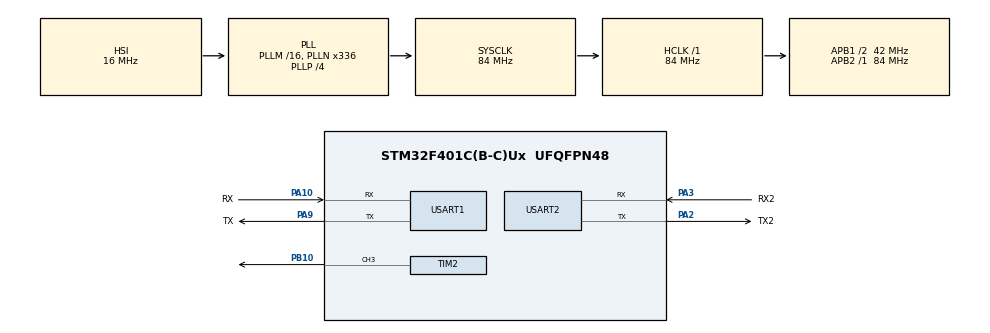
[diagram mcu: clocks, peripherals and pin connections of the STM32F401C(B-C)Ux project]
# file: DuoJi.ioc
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Mcu.Family=STM32F4
Mcu.Name=STM32F401C(B-C)Ux
Mcu.Package=UFQFPN48
NVIC.PriorityGroup=NVIC_PRIORITYGROUP_4
NVIC.TIM2_IRQn=true\:0\:0\:false\:false\:true\:true\:true
NVIC.USART1_IRQn=true\:0\:0\:false\:false\:true\:true\:true
NVIC.USART2_IRQn=true\:0\:0\:false\:false\:true\:true\:true
PA10.GPIO_Label=RX
PA10.Mode=Asynchronous
PA10.Signal=USART1_RX
PA2.GPIO_Label=TX2
PA2.Mode=Asynchronous
PA2.Signal=USART2_TX
PA3.GPIO_Label=RX2
PA3.Mode=Asynchronous
PA3.Signal=USART2_RX
PA9.GPIO_Label=TX
PA9.Mode=Asynchronous
PA9.Signal=USART1_TX
PB10.Signal=S_TIM2_CH3
PC14-OSC32_IN.Mode=LSE-External-Oscillator
PC14-OSC32_IN.Signal=RCC_OSC32_IN
PC15-OSC32_OUT.Mode=LSE-External-Oscillator
PC15-OSC32_OUT.Signal=RCC_OSC32_OUT
PH0\ -\ OSC_IN.Mode=HSE-External-Oscillator
PH0\ -\ OSC_IN.Signal=RCC_OSC_IN
PH1\ -\ OSC_OUT.Mode=HSE-External-Oscillator
PH1\ -\ OSC_OUT.Signal=RCC_OSC_OUT
ProjectManager.HeapSize=0x3000
ProjectManager.StackSize=0x400
ProjectManager.TargetToolchain=SW4STM32
RCC.48MHZClocksFreq_Value=84000000
RCC.AHBFreq_Value=84000000
RCC.APB1CLKDivider=RCC_HCLK_DIV2
RCC.APB1Freq_Value=42000000
RCC.APB1TimFreq_Value=84000000
RCC.APB2Freq_Value=84000000
RCC.APB2TimFreq_Value=84000000
RCC.CortexFreq_Value=84000000
RCC.HCLKFreq_Value=84000000
RCC.HSE_VALUE=25000000
RCC.HSI_VALUE=16000000
RCC.PLLN=336
RCC.PLLP=RCC_PLLP_DIV4
RCC.SYSCLKFreq_VALUE=84000000
RCC.SYSCLKSource=RCC_SYSCLKSOURCE_PLLCLK
RCC.VCOOutputFreq_Value=336000000
SH.S_TIM2_CH3.0=TIM2_CH3,PWM Generation3 CH3
TIM2.Channel-PWM\ Generation3\ CH3=TIM_CHANNEL_3
TIM2.Period=1000
TIM2.Prescaler=84*20
USART1.VirtualMode=VM_ASYNC
USART2.VirtualMode=VM_ASYNC
VP_TIM2_VS_ClockSourceINT.Mode=Internal
board=custom

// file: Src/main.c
/* USER CODE BEGIN Header */
/**
  ******************************************************************************
  * @file           : main.c
  * @brief          : Main program body
  ******************************************************************************
  * @attention
  *
  * <h2><center>&copy; Copyright (c) 2020 STMicroelectronics.
  * All rights reserved.</center></h2>
  *
  * This software component is licensed by ST under BSD 3-Clause license,
  * the "License"; You may not use this file except in compliance with the
  * License. You may obtain a copy of the License at:
  *                        opensource.org/licenses/BSD-3-Clause
  *
  ******************************************************************************
  */
/* USER CODE END Header */

#include "main.h"
#include "tim.h"
#include "usart.h"
#include "gpio.h"

/* USER CODE BEGIN Includes */
#include "stdbool.h"
#include "string.h"
#include "malloc.h"
/* USER CODE END Includes */

/* USER CODE BEGIN PV */
#pragma clang diagnostic push
#pragma clang diagnostic ignored "-Wmissing-noreturn"

/* USER CODE END PV */

void SystemClock_Config(void);

/* USER CODE BEGIN PFP */
char *send(UART_HandleTypeDef *huart, char *msg);

char *response(UART_HandleTypeDef *huart);

char *sendResponse(char *msg, char *isOk);

bool connectService();

int stringToInt(const char *str);
/* USER CODE END PFP */

/* USER CODE BEGIN 0 */

volatile uint8_t isConnect = false;
volatile int root = 75;

/* USER CODE END 0 */

int main(void) {

    /* MCU Configuration--------------------------------------------------------*/

    /* Reset of all peripherals, Initializes the Flash interface and the Systick. */
    HAL_Init();

    /* Configure the system clock */
    SystemClock_Config();

    /* Initialize all configured peripherals */
    MX_GPIO_Init();
    MX_TIM2_Init();
    MX_USART1_UART_Init();
    MX_USART2_UART_Init();

    /* Infinite loop */
    while (1) {

        /* USER CODE BEGIN 3 */

        // 200/20=10 200-x=y y*10=ms
        // 1000/20 = 50/ms
        // 0.5ms  = 25  ----------------正向最大转速
        // 1.5ms  = 75  ----------------速度为0
        // 2.5ms  = 125 ----------------反向最大转速

        // 连接服务器
        if (connectService()) {

            // 接收响应内容
            char *stringRe = response(&huart1);
            if (strcmp(stringRe, "") != 0 && strcmp(stringRe, "\r") != 0) {
                send(&huart2, stringRe);
                send(&huart2, "\r\n");
                root = stringToInt(stringRe);
                if(root>125) {
                    root = 125;
                } else if(root < 25) {
                    root = 25;
                }
            }
            free(stringRe);

            HAL_TIM_PWM_Start(&htim2, TIM_CHANNEL_3);

            //__HAL_TIM_SetCompare(&htim2, TIM_CHANNEL_3, 125);
            //HAL_Delay(200);

            __HAL_TIM_SetCompare(&htim2, TIM_CHANNEL_3, root);
            HAL_Delay(30);

            //__HAL_TIM_SetCompare(&htim2, TIM_CHANNEL_3, 25);
            //HAL_Delay(200);

            // 请求发送内容
//            send(&huart2,"AT+CIPSEND=5\r\n");
//            char *string6 = sendResponse("AT+CIPSEND=5\r\n", "OK");
//            send(&huart2, string6);
//            send(&huart2, "\r\n");

            // 发送内容
//            send(&huart2, "Hello\r\n");
//            char *string7 = sendResponse("Hello\r\n", "OK");
//            send(&huart2, string7);
//            send(&huart2, "\r\n");
        }

    }
    /* USER CODE END 3 */
}

void SystemClock_Config(void) {
    RCC_OscInitTypeDef RCC_OscInitStruct = {0};
    RCC_ClkInitTypeDef RCC_ClkInitStruct = {0};

    /** Configure the main internal regulator output voltage
    */
    __HAL_RCC_PWR_CLK_ENABLE();
    __HAL_PWR_VOLTAGESCALING_CONFIG(PWR_REGULATOR_VOLTAGE_SCALE2);
    /** Initializes the CPU, AHB and APB busses clocks
    */
    RCC_OscInitStruct.OscillatorType = RCC_OSCILLATORTYPE_HSI;
    RCC_OscInitStruct.HSIState = RCC_HSI_ON;
    RCC_OscInitStruct.HSICalibrationValue = RCC_HSICALIBRATION_DEFAULT;
    RCC_OscInitStruct.PLL.PLLState = RCC_PLL_ON;
    RCC_OscInitStruct.PLL.PLLSource = RCC_PLLSOURCE_HSI;
    RCC_OscInitStruct.PLL.PLLM = 16;
    RCC_OscInitStruct.PLL.PLLN = 336;
    RCC_OscInitStruct.PLL.PLLP = RCC_PLLP_DIV4;
    RCC_OscInitStruct.PLL.PLLQ = 4;
    if (HAL_RCC_OscConfig(&RCC_OscInitStruct) != HAL_OK) {
        Error_Handler();
    }
    /** Initializes the CPU, AHB and APB busses clocks
    */
    RCC_ClkInitStruct.ClockType = RCC_CLOCKTYPE_HCLK | RCC_CLOCKTYPE_SYSCLK
                                  | RCC_CLOCKTYPE_PCLK1 | RCC_CLOCKTYPE_PCLK2;
    RCC_ClkInitStruct.SYSCLKSource = RCC_SYSCLKSOURCE_PLLCLK;
    RCC_ClkInitStruct.AHBCLKDivider = RCC_SYSCLK_DIV1;
    RCC_ClkInitStruct.APB1CLKDivider = RCC_HCLK_DIV2;
    RCC_ClkInitStruct.APB2CLKDivider = RCC_HCLK_DIV1;

    if (HAL_RCC_ClockConfig(&RCC_ClkInitStruct, FLASH_LATENCY_2) != HAL_OK) {
        Error_Handler();
    }
}

/* USER CODE BEGIN 4 */
/**
 * 发送数据
 * @param huart
 * @param msg
 * @return
 */
char *send(UART_HandleTypeDef *huart, char *msg) {
    if (strcmp(msg, "") == 0) {
        return "";
    }
    HAL_UART_Transmit(huart, (uint8_t *) msg, strlen(msg), 30);
    /*Receive command and save in "rxBuffer" array with 5s timeout*/
}

/**
 * 接收数据
 * @param huart
 * @return
 */
char *response(UART_HandleTypeDef *huart) {
    char *rxBuffer = malloc(100);
    memset(rxBuffer, 0, 100);
    HAL_UART_Receive(huart, (uint8_t *) rxBuffer, 100, 300);

    char *str = strchr(rxBuffer, ':');

    if (str != NULL) {
        char *rxBufferTemp = malloc(100);
        memset(rxBufferTemp, 0, 100);
        strncpy(rxBufferTemp, str + 1, strlen(str) - 1);

        free(rxBuffer);
        return rxBufferTemp;
    }

    return rxBuffer;
}

char *sendResponse(char *msg, char *isOk) {

    int index = 5;

    char rxBuffer[255];

    while (index > 0) {
        HAL_UART_Transmit(&huart1, (uint8_t *) msg, strlen(msg), 30);
        /*Receive command and save in "rxBuffer" array with 5s timeout*/
        HAL_UART_Receive(&huart1, (uint8_t *) rxBuffer, 255, 30);
        /*Process recived command*/

        if (strstr(rxBuffer, isOk) != 0 || strstr(rxBuffer, "ALREADY CONNECTED") != 0) {
            char *str = strstr(rxBuffer, "\000");
            char *dest = malloc(strlen(str));
            memset(dest, 0, strlen(dest));
            strncpy(dest, str + strlen(msg), strlen(str) - strlen(msg));
            char len = strlen(dest);
            dest[len - 1] = '\0';
            return dest;
        }
        if (strstr(rxBuffer, "ERROR") == 0) {
            return "ERROR";
        }
        index--;
    }
    return "ERROR";
}

/**
 * 连接服务器
 * @return
 */
bool connectService() {
    if (isConnect) {
        return true;
    }
    send(&huart2, "AT+CIPSTART=\"TCP\",\"192.168.0.112\",8088\r\n");
    char *string5 = sendResponse("AT+CIPSTART=\"TCP\",\"192.168.0.112\",8088\r\n", "OK");
    if (strstr(string5, "ALREADY CONNECTED") != 0) {
        send(&huart2, "device connected\r\n");
        isConnect = true;
        return true;
    } else {
        send(&huart2, string5);
        send(&huart2, "\r\n");
        isConnect = false;
        return false;
    }
}

void HAL_UART_TxCpltCallback(UART_HandleTypeDef *huart) {
    UNUSED(huart);
}

void HAL_UART_RxCpltCallback(UART_HandleTypeDef *huart) {
/* Prevent unused argument(s) compilation warning */
    UNUSED(huart);
}

void HAL_TIM_PeriodElapsedCallback(TIM_HandleTypeDef *htim) {

    // 1ms
    if (htim->Instance == htim2.Instance) {

        if (HAL_GPIO_ReadPin(GPIOB, GPIO_PIN_10) == GPIO_PIN_RESET) {
            HAL_GPIO_WritePin(GPIOB, GPIO_PIN_10, GPIO_PIN_SET);
        } else {
            HAL_GPIO_WritePin(GPIOB, GPIO_PIN_10, GPIO_PIN_RESET);
        }

    }
}

int stringToInt(const char *str) {
    char *p = str;

    int nNUM = 0;

    bool bFlage = true;

    if (*p == '-') {
        bFlage = false;
        p++;
    } else if (*p == '+') {
        p++;
    }

    while (*p != '\0') {
        if ((*p < '0') || (*p > '9')) {
            nNUM = 0;
            break;
        }

        if ((nNUM * 10) > 0
            && (*p - '0') > 0
            && (2147483647 - (nNUM * 10) < (*p - '0'))) {
            nNUM = 0;
            break;
        }

        nNUM = nNUM * 10 + (*p - '0');

        p++;
    }

    if (!bFlage) {
        nNUM = 0 - nNUM;
    }

    return nNUM;
}
/* USER CODE END 4 */

void Error_Handler(void) {
}

/************************ (C) COPYRIGHT STMicroelectronics *****END OF FILE****/
